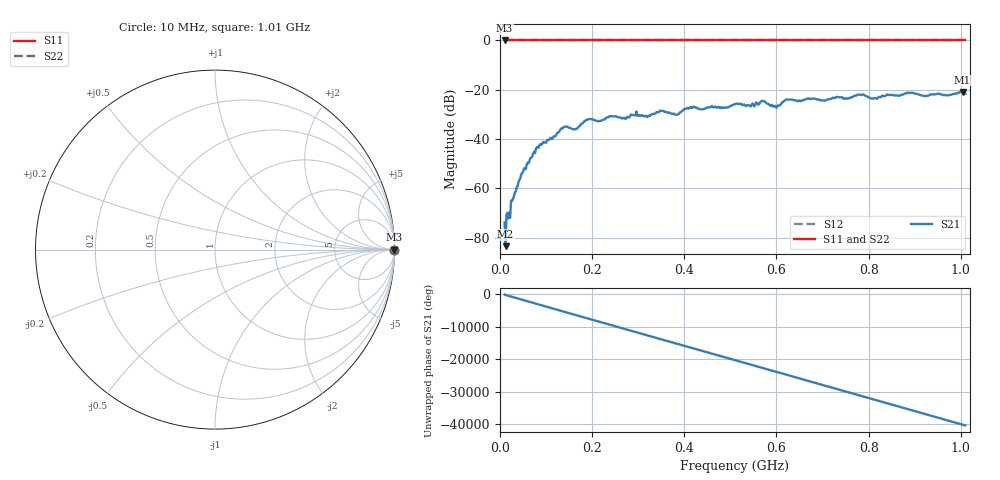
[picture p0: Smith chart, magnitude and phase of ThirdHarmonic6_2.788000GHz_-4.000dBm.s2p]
! 8/17/2025 7:11:23 AM
! C:\ANRITSUVNA\TEMP\TEMP.S2P
! CHANNEL.1
! TR.MEASUREMENT
! RAW.DATA
! RF.CORRECTION.OFF
! AVERAGING.OFF
! IF.BANDWIDTH: 5KHZ
! SWEEPTYPE:  FREQ.SWEEP(Linear)
! Reference Plane Port Info
! PORT:  PORT1  PORT2
! DISTANCE:  0  m  0  m
! TIME:  0  s  0  s
! PHASE.OFFSET:  0  deg.  0  deg.
! LOSS:  0  dB  0  dB
! REF.LOSS:  0  dB  0  dB
! REF.FREQ:  0  Hz  0  Hz
! Power Info
! POWER:  -20  dBm  -20  dBm
! EFF.POWER:  -20  dBm  -20  dBm
! SOURCE.ATTEN:  0  dB  0  dB
! TEST.ATTEN:  0  dB  0  dB
# GHZ S RI R 50.0
! FREQ.GHZ  S11RE  S11IM  S21RE  S21IM  S12RE  S12IM  S22RE  S22IM
!; PortSelection: Port_12
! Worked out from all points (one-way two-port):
!   501 points, 10 MHz to 1.01 GHz, reference 50 ohm
!   highest |S21| = -20.93 dB at 1.004 GHz (marker M1); lowest = -83.5 dB at 12 MHz (marker M2)
!   lowest |S11| = 0.0 dB at 10 MHz (marker M3)
!   |S11| at or under -10 dB: nowhere
!   |S22| runs from 0.0 to 0.0 dB; largest |S21 - S12| = 1.1
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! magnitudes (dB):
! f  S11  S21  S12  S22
! 10 MHz  0.0  -73.8  0.0  0.0
! 12 MHz  0.0  -83.5  0.0  0.0
! 48 MHz  0.0  -53.9  0.0  0.0
! 82 MHz  0.0  -43.2  0.0  0.0
! 136 MHz  0.0  -35.7  0.0  0.0
! 164 MHz  0.0  -36.1  0.0  0.0
! 178 MHz  0.0  -33.7  0.0  0.0
! 194 MHz  0.0  -31.9  0.0  0.0
! 322 MHz  0.0  -30.7  0.0  0.0
! 344 MHz  0.0  -29.2  0.0  0.0
! 384 MHz  0.0  -30.2  0.0  0.0
! 416 MHz  0.0  -27.3  0.0  0.0
! 510 MHz  0.0  -25.9  0.0  0.0
! 548 MHz  0.0  -25.6  0.0  0.0
! 570 MHz  0.0  -24.5  0.0  0.0
! 598 MHz  0.0  -26.7  0.0  0.0
! 622 MHz  0.0  -23.9  0.0  0.0
! 678 MHz  0.0  -23.7  0.0  0.0
! 814 MHz  0.0  -23.4  0.0  0.0
! 844 MHz  0.0  -22.1  0.0  0.0
! 1.004 GHz  0.0  -20.9  0.0  0.0
! 1.01 GHz  0.0  -21.6  0.0  0.0
